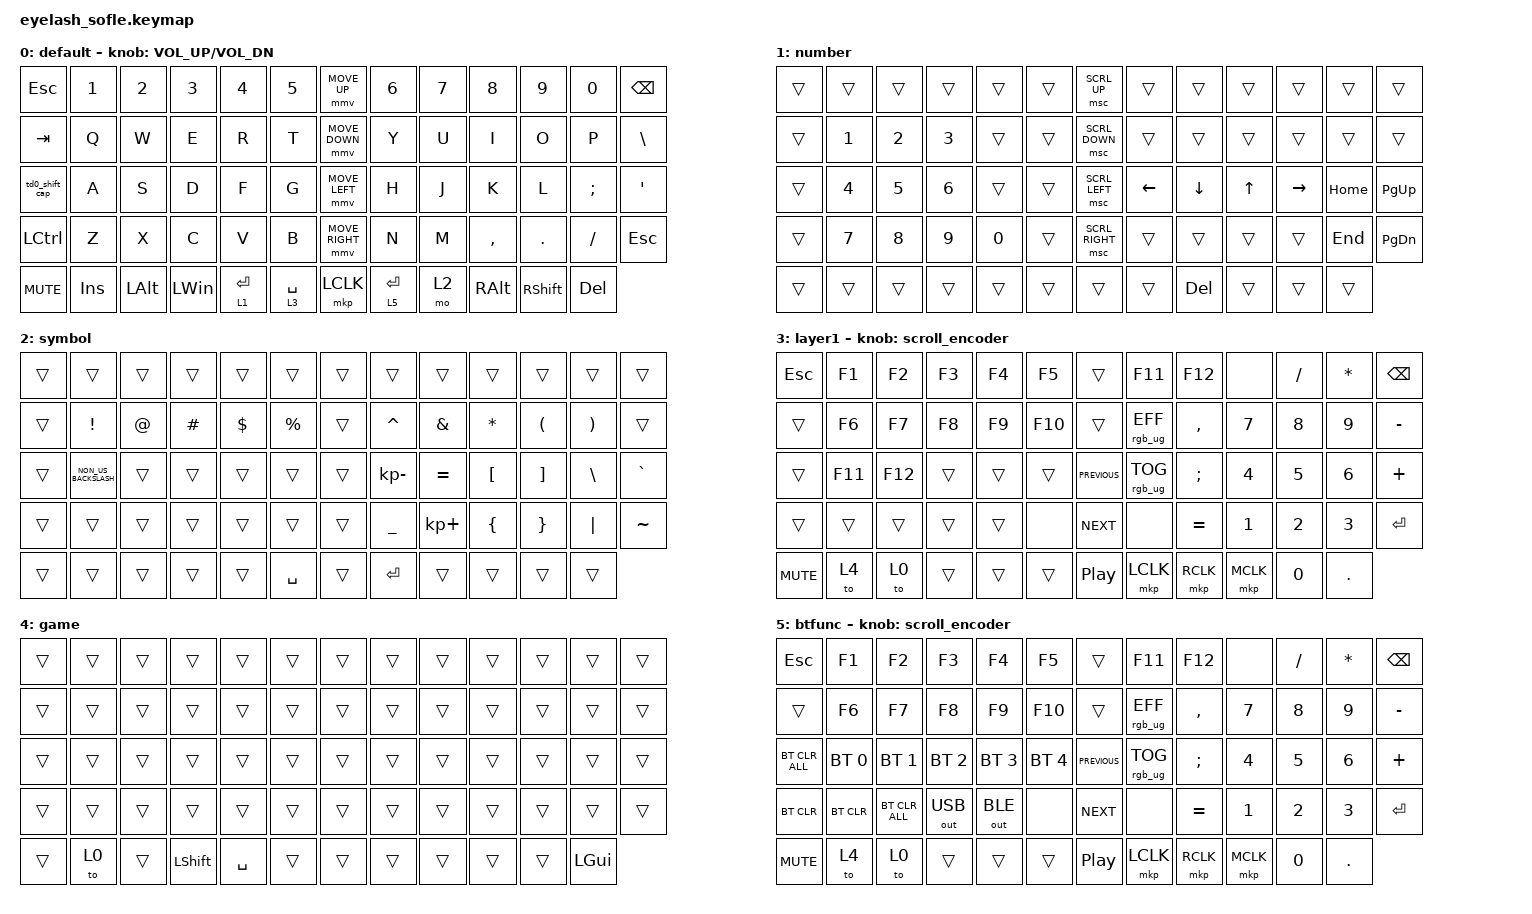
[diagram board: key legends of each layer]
#include <dt-bindings/zmk/mouse.h>
#include <input/processors.dtsi>
#include <behaviors.dtsi>
#include <dt-bindings/zmk/bt.h>
#include <dt-bindings/zmk/keys.h>
#include <dt-bindings/zmk/outputs.h>
#include <dt-bindings/zmk/pointing.h>
#include <dt-bindings/zmk/rgb.h>

/*

   &mmv_input_listener {
       input-processors = <&zip_xy_scaler 2 1>;
   };

   &msc_input_listener {
       input-processors = <&zip_xy_scaler 2 1>;
   };

 */

#define ZMK_MOUSE_DEFAULT_MOVE_VAL 1200  // 600
#define ZMK_MOUSE_DEFAULT_SCRL_VAL 20    // 10

/ {
    behaviors {
        mmv {
            acceleration-exponent = <1>;      // 1
            time-to-max-speed-ms = <900>;    // 40
            delay-ms = <0>;                   // 0
        };

        msc {
            acceleration-exponent = <1>;      // 0
            time-to-max-speed-ms = <400>;      // 500
            delay-ms = <0>;                   //   10
        };
    };

    scroll_encoder: scroll_encoder {
        compatible = "zmk,behavior-sensor-rotate";
        #sensor-binding-cells = <0>;
        bindings = <&msc SCRL_DOWN>, <&msc SCRL_UP>;

        tap-ms = <30>;
    };

    td0_shift_cap: td0_shift_cap {
        compatible = "zmk,behavior-tap-dance";
        label = "TD0_SHIFT_CAP";
        #binding-cells = <0>;
        bindings = <&kp LEFT_SHIFT>, <&kp CAPSLOCK>;
    };

    keymap {
        compatible = "zmk,keymap";

        default {
            bindings = <
&kp ESC           &kp N1      &kp N2        &kp N3        &kp N4       &kp N5         &mmv MOVE_UP     &kp N6       &kp N7  &kp N8         &kp N9           &kp N0      &kp BACKSPACE
&kp TAB           &kp Q       &kp W         &kp E         &kp R        &kp T          &mmv MOVE_DOWN   &kp Y        &kp U   &kp I          &kp O            &kp P       &kp BSLH
&td0_shift_cap    &kp A       &kp S         &kp D         &kp F        &kp G          &mmv MOVE_LEFT   &kp H        &kp J   &kp K          &kp L            &kp SEMI    &kp APOS
&kp LEFT_CONTROL  &kp Z       &kp X         &kp C         &kp V        &kp B          &mmv MOVE_RIGHT  &kp N        &kp M   &kp COMMA      &kp DOT          &kp FSLH    &kp ESCAPE
&kp C_MUTE        &kp INSERT  &kp LEFT_ALT  &kp LEFT_WIN  &lt 1 ENTER  &lt 3 SPACE    &mkp LCLK        &lt 5 ENTER  &mo 2   &kp RIGHT_ALT  &kp RIGHT_SHIFT  &kp DELETE
            >;

            sensor-bindings = <&inc_dec_kp C_VOLUME_UP C_VOL_DN>;
            display-name = "default";
        };

        number {
            bindings = <
&trans  &trans        &trans        &trans        &trans  &trans    &msc SCRL_UP     &trans    &trans      &trans  &trans     &trans    &trans
&trans  &kp NUMBER_1  &kp NUMBER_2  &kp NUMBER_3  &trans  &trans    &msc SCRL_DOWN   &trans    &trans      &trans  &trans     &trans    &trans
&trans  &kp NUMBER_4  &kp N5        &kp NUMBER_6  &trans  &trans    &msc SCRL_LEFT   &kp LEFT  &kp DOWN    &kp UP  &kp RIGHT  &kp HOME  &kp PG_UP
&trans  &kp N7        &kp N8        &kp N9        &kp N0  &trans    &msc SCRL_RIGHT  &trans    &trans      &trans  &trans     &kp END   &kp PG_DN
&trans  &trans        &trans        &trans        &trans  &trans    &trans           &trans    &kp DELETE  &trans  &trans     &trans
            >;

            label = "number";
        };

        symbol {
            bindings = <
&trans  &trans                &trans  &trans    &trans      &trans         &trans  &trans          &trans         &trans          &trans                &trans                 &trans
&trans  &kp EXCLAMATION       &kp AT  &kp HASH  &kp DOLLAR  &kp PERCENT    &trans  &kp CARET       &kp AMPERSAND  &kp ASTERISK    &kp LEFT_PARENTHESIS  &kp RIGHT_PARENTHESIS  &trans
&trans  &kp NON_US_BACKSLASH  &trans  &trans    &trans      &trans         &trans  &kp KP_MINUS    &kp EQUAL      &kp LBKT        &kp RBKT              &kp BSLH               &kp GRAVE
&trans  &trans                &trans  &trans    &trans      &trans         &trans  &kp UNDERSCORE  &kp KP_PLUS    &kp LEFT_BRACE  &kp RIGHT_BRACE       &kp PIPE               &kp TILDE
&trans  &trans                &trans  &trans    &trans      &kp SPACE      &trans  &kp RET         &trans         &trans          &trans                &trans
            >;

            label = "symbol";
        };

        functions {
            bindings = <
&kp ESCAPE  &kp F1   &kp F2   &kp F3  &kp F4  &kp F5     &trans          &kp F11          &kp F12        &none         &kp SLASH     &kp ASTERISK  &kp BACKSPACE
&trans      &kp F6   &kp F7   &kp F8  &kp F9  &kp F10    &trans          &rgb_ug RGB_EFF  &kp COMMA      &kp N7        &kp N8        &kp N9        &kp MINUS
&trans      &kp F11  &kp F12  &trans  &trans  &trans     &kp C_PREVIOUS  &rgb_ug RGB_TOG  &kp SEMICOLON  &kp NUMBER_4  &kp N5        &kp NUMBER_6  &kp PLUS
&trans      &trans   &trans   &trans  &trans  &none      &kp C_NEXT      &none            &kp EQUAL      &kp NUMBER_1  &kp NUMBER_2  &kp NUMBER_3  &kp ENTER
&kp C_MUTE  &to 4    &to 0    &trans  &trans  &trans     &kp C_PP        &mkp LCLK        &mkp RCLK      &mkp MCLK     &kp N0        &kp DOT
            >;

            display-name = "layer1";
            sensor-bindings = <&scroll_encoder>;
            label = "functions";
        };

        game {
            bindings = <
&trans  &trans  &trans  &trans          &trans     &trans    &trans  &trans  &trans  &trans  &trans  &trans        &trans
&trans  &trans  &trans  &trans          &trans     &trans    &trans  &trans  &trans  &trans  &trans  &trans        &trans
&trans  &trans  &trans  &trans          &trans     &trans    &trans  &trans  &trans  &trans  &trans  &trans        &trans
&trans  &trans  &trans  &trans          &trans     &trans    &trans  &trans  &trans  &trans  &trans  &trans        &trans
&trans  &to 0   &trans  &kp LEFT_SHIFT  &kp SPACE  &trans    &trans  &trans  &trans  &trans  &trans  &kp LEFT_GUI
            >;

            label = "game";
        };

        kb_func {
            label = "kb_func";
            display-name = "btfunc";
            bindings = <
&kp ESCAPE      &kp F1        &kp F2          &kp F3        &kp F4        &kp F5          &trans          &kp F11          &kp F12        &none         &kp SLASH     &kp ASTERISK  &kp BACKSPACE
&trans          &kp F6        &kp F7          &kp F8        &kp F9        &kp F10         &trans          &rgb_ug RGB_EFF  &kp COMMA      &kp N7        &kp N8        &kp N9        &kp MINUS
&bt BT_CLR_ALL  &bt BT_SEL 0  &bt BT_SEL 1    &bt BT_SEL 2  &bt BT_SEL 3  &bt BT_SEL 4    &kp C_PREVIOUS  &rgb_ug RGB_TOG  &kp SEMICOLON  &kp NUMBER_4  &kp N5        &kp NUMBER_6  &kp PLUS
&bt BT_CLR      &bt BT_CLR    &bt BT_CLR_ALL  &out OUT_USB  &out OUT_BLE  &none           &kp C_NEXT      &none            &kp EQUAL      &kp NUMBER_1  &kp NUMBER_2  &kp NUMBER_3  &kp ENTER
&kp C_MUTE      &to 4         &to 0           &trans        &trans        &trans          &kp C_PP        &mkp LCLK        &mkp RCLK      &mkp MCLK     &kp N0        &kp DOT
            >;

            sensor-bindings = <&scroll_encoder>;
        };
    };
};
